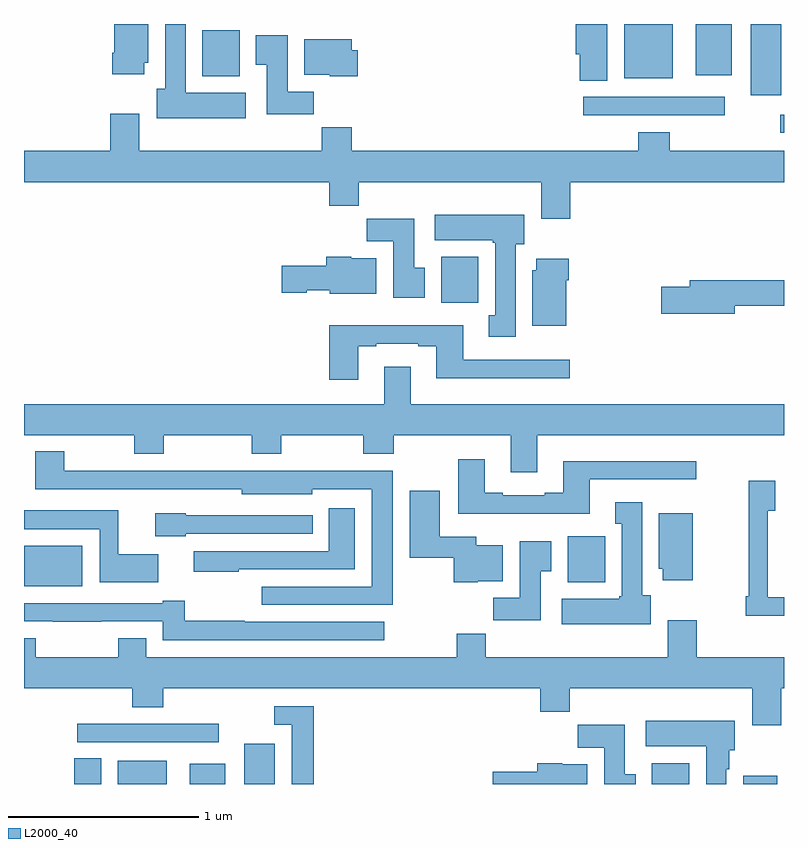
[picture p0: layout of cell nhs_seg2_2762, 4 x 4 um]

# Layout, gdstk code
import gdstk
lib = gdstk.Library(unit=1e-6, precision=1e-09)
def R(c, l, rs):  # rectangles x0, y0, x1, y1
    for r in rs: c.add(gdstk.rectangle(r[:2], r[2:], *l))
def P(c, l, *ps):  # polygons
    for p in ps: c.add(gdstk.Polygon(p, *l))
L2000_40 = (2000, 40)

nhs_seg2_2762 = lib.new_cell('nhs_seg2_2762')
R(nhs_seg2_2762, L2000_40, [(255.265,645.8,255.406,645.935), (255.494,645.8,255.751,645.922), (255.872,645.8,256.06,645.907), (256.16,645.8,256.321,646.012), (258.305,645.8,258.502,645.91), (258.785,645.8,258.964,645.844), (255.279,646.02,256.024,646.116), (255,646.841,255.307,647.053), (257.861,646.862,258.058,647.104), (257.195,648.332,257.392,648.574), (258.981,649.227,259,649.323), (257.943,649.32,258.688,649.416), (258.824,649.425,258.985,649.8), (258.158,649.514,258.415,649.8), (255.938,649.526,256.135,649.768), (258.536,649.529,258.724,649.8)])
P(nhs_seg2_2762, L2000_40, [(258.07,649.8),(257.903,649.8),(257.903,649.641),(257.924,649.641),(257.924,649.501),(258.07,649.501)],
  [(255.634,649.596),(255.655,649.596),(255.655,649.8),(255.476,649.8),(255.476,649.648),(255.464,649.648),(255.464,649.536),(255.634,649.536)],
  [(256.168,649.438),(255.85,649.438),(255.85,649.8),(255.743,649.8),(255.743,649.458),(255.698,649.458),(255.698,649.304),(256.168,649.304)],
  [(256.526,649.444),(256.387,649.444),(256.387,649.741),(256.22,649.741),(256.22,649.585),(256.277,649.585),(256.277,649.326),(256.526,649.326)],
  [(256.757,649.662),(256.726,649.662),(256.726,649.72),(256.475,649.72),(256.475,649.532),(256.608,649.532),(256.608,649.526),(256.757,649.526)],
  [(257.876,648.968),(259,648.968),(259,649.132),(258.398,649.132),(258.398,649.231),(258.233,649.231),(258.233,649.132),(256.724,649.132),(256.724,649.256),(256.567,649.256),(256.567,649.132),(255.607,649.132),(255.607,649.327),(255.455,649.327),(255.455,649.132),(255,649.132),(255,648.968),(256.607,648.968),(256.607,648.844),(256.763,648.844),(256.763,648.968),(257.723,648.968),(257.723,648.774),(257.876,648.774)],
  [(257.587,648.642),(257.632,648.642),(257.632,648.796),(257.163,648.796),(257.163,648.662),(257.467,648.662),(257.467,648.649),(257.48,648.649),(257.48,648.266),(257.447,648.266),(257.447,648.153),(257.587,648.153)],
  [(257.11,648.516),(257.053,648.516),(257.053,648.775),(256.804,648.775),(256.804,648.656),(256.943,648.656),(256.943,648.36),(257.11,648.36)],
  [(256.855,648.568),(256.722,648.568),(256.722,648.574),(256.592,648.574),(256.592,648.528),(256.356,648.528),(256.356,648.386),(256.488,648.386),(256.488,648.398),(256.608,648.398),(256.608,648.38),(256.855,648.38)],
  [(257.854,648.452),(257.867,648.452),(257.867,648.565),(257.696,648.565),(257.696,648.504),(257.675,648.504),(257.675,648.212),(257.854,648.212)],
  [(258.742,648.316),(259,648.316),(259,648.452),(258.503,648.452),(258.503,648.416),(258.354,648.416),(258.354,648.274),(258.742,648.274)],
  [(256.759,648.105),(256.855,648.105),(256.855,648.117),(257.075,648.117),(257.075,648.105),(257.171,648.105),(257.171,647.936),(257.872,647.936),(257.872,648.033),(257.311,648.033),(257.311,648.214),(256.607,648.214),(256.607,647.928),(256.759,647.928)],
  [(257.701,647.636),(259,647.636),(259,647.8),(257.035,647.8),(257.035,647.995),(256.895,647.995),(256.895,647.8),(255,647.8),(255,647.636),(255.58,647.636),(255.58,647.537),(255.735,647.537),(255.735,647.636),(256.198,647.636),(256.198,647.537),(256.353,647.537),(256.353,647.636),(256.786,647.636),(256.786,647.537),(256.946,647.537),(256.946,647.636),(257.561,647.636),(257.561,647.442),(257.701,647.442)],
  [(256.942,647.45),(256.518,647.45),(256.518,647.448),(256.146,647.448),(256.146,647.45),(255.823,647.45),(255.823,647.448),(255.491,647.448),(255.491,647.45),(255.213,647.45),(255.213,647.551),(255.058,647.551),(255.058,647.352),(256.146,647.352),(256.146,647.324),(256.518,647.324),(256.518,647.352),(256.829,647.352),(256.829,646.839),(256.251,646.839),(256.251,646.743),(256.942,646.743)],
  [(257.977,647.403),(258.538,647.403),(258.538,647.5),(257.837,647.5),(257.837,647.332),(257.741,647.332),(257.741,647.319),(257.521,647.319),(257.521,647.332),(257.425,647.332),(257.425,647.509),(257.285,647.509),(257.285,647.222),(257.977,647.222)],
  [(259,646.782),(258.915,646.782),(258.915,647.239),(258.955,647.239),(258.955,647.395),(258.814,647.395),(258.814,646.789),(258.799,646.789),(258.799,646.685),(259,646.685)],
  [(257.388,646.868),(257.521,646.868),(257.521,647.056),(257.38,647.056),(257.38,647.101),(257.188,647.101),(257.188,647.344),(257.03,647.344),(257.03,646.991),(257.263,646.991),(257.263,646.862),(257.388,646.862)],
  [(258.298,646.794),(258.253,646.794),(258.253,647.284),(258.113,647.284),(258.113,647.171),(258.146,647.171),(258.146,646.788),(258.133,646.788),(258.133,646.774),(257.829,646.774),(257.829,646.64),(258.298,646.64)],
  [(256.129,646.929),(256.741,646.929),(256.741,647.251),(256.604,647.251),(256.604,647.025),(255.893,647.025),(255.893,646.916),(256.129,646.916)],
  [(255.706,647.008),(255.497,647.008),(255.497,647.242),(255,647.242),(255,647.141),(255.399,647.141),(255.399,646.862),(255.706,646.862)],
  [(255.852,647.118),(256.519,647.118),(256.519,647.214),(255.852,647.214),(255.852,647.224),(255.69,647.224),(255.69,647.103),(255.852,647.103)],
  [(258.52,647.224),(258.341,647.224),(258.341,646.932),(258.362,646.932),(258.362,646.872),(258.52,646.872)],
  [(257.719,646.921),(257.776,646.921),(257.776,647.077),(257.609,647.077),(257.609,646.78),(257.47,646.78),(257.47,646.662),(257.719,646.662)],
  [(256.897,646.653),(256.163,646.653),(256.163,646.658),(255.845,646.658),(255.845,646.765),(255.731,646.765),(255.731,646.752),(255,646.752),(255,646.656),(255.151,646.656),(255.151,646.655),(255.407,646.655),(255.407,646.656),(255.731,646.656),(255.731,646.557),(256.897,646.557)],
  [(258.986,646.304),(259,646.304),(259,646.468),(258.541,646.468),(258.541,646.663),(258.389,646.663),(258.389,646.468),(257.429,646.468),(257.429,646.592),(257.278,646.592),(257.278,646.468),(255.643,646.468),(255.643,646.567),(255.496,646.567),(255.496,646.468),(255.063,646.468),(255.063,646.567),(255,646.567),(255,646.304),(255.569,646.304),(255.569,646.205),(255.734,646.205),(255.734,646.304),(257.717,646.304),(257.717,646.18),(257.873,646.18),(257.873,646.304),(258.833,646.304),(258.833,646.11),(258.986,646.11)],
  [(256.526,646.209),(256.317,646.209),(256.317,646.113),(256.41,646.113),(256.41,645.8),(256.526,645.8)],
  [(258.697,645.878),(258.712,645.878),(258.712,645.978),(258.742,645.978),(258.742,646.132),(258.273,646.132),(258.273,645.998),(258.59,645.998),(258.59,645.8),(258.697,645.8)],
  [(258.22,645.852),(258.163,645.852),(258.163,646.111),(257.914,646.111),(257.914,645.992),(258.053,645.992),(258.053,645.8),(258.22,645.8)],
  [(257.965,645.904),(257.832,645.904),(257.832,645.91),(257.702,645.91),(257.702,645.864),(257.466,645.864),(257.466,645.8),(257.965,645.8)])

lib.write_gds('nhs_seg2_2762.gds')
